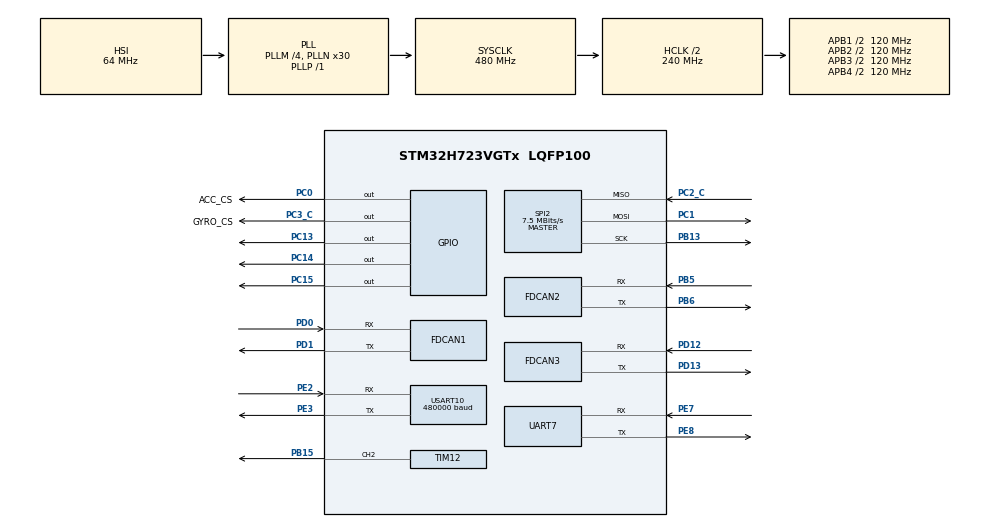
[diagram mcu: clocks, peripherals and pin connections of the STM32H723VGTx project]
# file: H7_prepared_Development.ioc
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CORTEX_M7.default_mode_Activation=1
Dma.Request0=UART7_RX
Dma.Request1=USART10_RX
Dma.UART7_RX.0.Direction=DMA_PERIPH_TO_MEMORY
Dma.UART7_RX.0.EventEnable=DISABLE
Dma.UART7_RX.0.FIFOMode=DMA_FIFOMODE_DISABLE
Dma.UART7_RX.0.Instance=DMA1_Stream0
Dma.UART7_RX.0.MemDataAlignment=DMA_MDATAALIGN_BYTE
Dma.UART7_RX.0.MemInc=DMA_MINC_ENABLE
Dma.UART7_RX.0.Mode=DMA_NORMAL
Dma.UART7_RX.0.PeriphDataAlignment=DMA_PDATAALIGN_BYTE
Dma.UART7_RX.0.PeriphInc=DMA_PINC_DISABLE
Dma.UART7_RX.0.Polarity=HAL_DMAMUX_REQ_GEN_RISING
Dma.UART7_RX.0.Priority=DMA_PRIORITY_LOW
Dma.UART7_RX.0.RequestNumber=1
Dma.UART7_RX.0.SignalID=NONE
Dma.UART7_RX.0.SyncEnable=DISABLE
Dma.UART7_RX.0.SyncPolarity=HAL_DMAMUX_SYNC_NO_EVENT
Dma.UART7_RX.0.SyncRequestNumber=1
Dma.UART7_RX.0.SyncSignalID=NONE
Dma.USART10_RX.1.Direction=DMA_PERIPH_TO_MEMORY
Dma.USART10_RX.1.EventEnable=DISABLE
Dma.USART10_RX.1.FIFOMode=DMA_FIFOMODE_DISABLE
Dma.USART10_RX.1.Instance=DMA1_Stream1
Dma.USART10_RX.1.MemDataAlignment=DMA_MDATAALIGN_BYTE
Dma.USART10_RX.1.MemInc=DMA_MINC_ENABLE
Dma.USART10_RX.1.Mode=DMA_NORMAL
Dma.USART10_RX.1.PeriphDataAlignment=DMA_PDATAALIGN_BYTE
Dma.USART10_RX.1.PeriphInc=DMA_PINC_DISABLE
Dma.USART10_RX.1.Polarity=HAL_DMAMUX_REQ_GEN_RISING
Dma.USART10_RX.1.Priority=DMA_PRIORITY_LOW
Dma.USART10_RX.1.RequestNumber=1
Dma.USART10_RX.1.SignalID=NONE
Dma.USART10_RX.1.SyncEnable=DISABLE
Dma.USART10_RX.1.SyncPolarity=HAL_DMAMUX_SYNC_NO_EVENT
Dma.USART10_RX.1.SyncRequestNumber=1
Dma.USART10_RX.1.SyncSignalID=NONE
FDCAN1.CalculateBaudRateNominal=1000000
FDCAN1.CalculateTimeBitNominal=1000
FDCAN1.CalculateTimeQuantumNominal=25.0
FDCAN1.DataSyncJumpWidth=2
FDCAN1.DataTimeSeg1=13
FDCAN1.DataTimeSeg2=2
FDCAN1.ExtFiltersNbr=4
FDCAN1.FrameFormat=FDCAN_FRAME_CLASSIC
FDCAN1.NominalPrescaler=3
FDCAN1.NominalSyncJumpWidth=20
FDCAN1.NominalTimeSeg1=29
FDCAN1.NominalTimeSeg2=10
FDCAN1.RxBufferSize=FDCAN_DATA_BYTES_8
FDCAN1.RxBuffersNbr=2
FDCAN1.RxFifo0ElmtSize=FDCAN_DATA_BYTES_8
FDCAN1.RxFifo0ElmtsNbr=10
FDCAN1.RxFifo1ElmtSize=FDCAN_DATA_BYTES_8
FDCAN1.RxFifo1ElmtsNbr=10
FDCAN1.StdFiltersNbr=4
FDCAN1.TxBuffersNbr=10
FDCAN1.TxElmtSize=FDCAN_DATA_BYTES_8
FDCAN1.TxEventsNbr=10
FDCAN1.TxFifoQueueElmtsNbr=10
FDCAN2.CalculateBaudRateNominal=1000000
FDCAN2.CalculateTimeBitNominal=1000
FDCAN2.CalculateTimeQuantumNominal=25.0
FDCAN2.DataSyncJumpWidth=2
FDCAN2.DataTimeSeg1=13
FDCAN2.DataTimeSeg2=2
FDCAN2.ExtFiltersNbr=4
FDCAN2.FrameFormat=FDCAN_FRAME_FD_BRS
FDCAN2.MessageRAMOffset=853
FDCAN2.NominalPrescaler=3
FDCAN2.NominalSyncJumpWidth=20
FDCAN2.NominalTimeSeg1=29
FDCAN2.NominalTimeSeg2=10
FDCAN2.RxBufferSize=FDCAN_DATA_BYTES_64
FDCAN2.RxBuffersNbr=2
FDCAN2.RxFifo0ElmtSize=FDCAN_DATA_BYTES_64
FDCAN2.RxFifo0ElmtsNbr=10
FDCAN2.RxFifo1ElmtSize=FDCAN_DATA_BYTES_64
FDCAN2.RxFifo1ElmtsNbr=10
FDCAN2.StdFiltersNbr=4
FDCAN2.TxBuffersNbr=10
FDCAN2.TxElmtSize=FDCAN_DATA_BYTES_64
FDCAN2.TxEventsNbr=10
FDCAN2.TxFifoQueueElmtsNbr=10
FDCAN3.CalculateBaudRateNominal=1000000
FDCAN3.CalculateTimeBitNominal=1000
FDCAN3.CalculateTimeQuantumNominal=25.0
FDCAN3.DataSyncJumpWidth=2
FDCAN3.DataTimeSeg1=13
FDCAN3.DataTimeSeg2=2
FDCAN3.ExtFiltersNbr=4
FDCAN3.FrameFormat=FDCAN_FRAME_FD_BRS
FDCAN3.MessageRAMOffset=1706
FDCAN3.NominalPrescaler=3
FDCAN3.NominalSyncJumpWidth=20
FDCAN3.NominalTimeSeg1=29
FDCAN3.NominalTimeSeg2=10
FDCAN3.RxBufferSize=FDCAN_DATA_BYTES_64
FDCAN3.RxBuffersNbr=2
FDCAN3.RxFifo0ElmtSize=FDCAN_DATA_BYTES_64
FDCAN3.RxFifo0ElmtsNbr=10
FDCAN3.RxFifo1ElmtSize=FDCAN_DATA_BYTES_64
FDCAN3.RxFifo1ElmtsNbr=10
FDCAN3.StdFiltersNbr=4
FDCAN3.TxBuffersNbr=10
FDCAN3.TxElmtSize=FDCAN_DATA_BYTES_64
FDCAN3.TxEventsNbr=10
FDCAN3.TxFifoQueueElmtsNbr=10
Mcu.Family=STM32H7
Mcu.Name=STM32H723VGTx
Mcu.Package=LQFP100
NVIC.DMA1_Stream0_IRQn=true\:0\:0\:false\:false\:true\:false\:true\:true
NVIC.DMA1_Stream1_IRQn=true\:0\:0\:false\:false\:true\:false\:true\:true
NVIC.FDCAN1_IT0_IRQn=true\:0\:0\:false\:false\:true\:true\:true\:true
NVIC.FDCAN1_IT1_IRQn=true\:0\:0\:false\:false\:true\:true\:true\:true
NVIC.FDCAN2_IT0_IRQn=true\:0\:0\:false\:false\:true\:true\:true\:true
NVIC.FDCAN2_IT1_IRQn=true\:0\:0\:false\:false\:true\:true\:true\:true
NVIC.FDCAN3_IT0_IRQn=true\:0\:0\:false\:false\:true\:true\:true\:true
NVIC.FDCAN3_IT1_IRQn=true\:0\:0\:false\:false\:true\:true\:true\:true
NVIC.PriorityGroup=NVIC_PRIORITYGROUP_4
NVIC.TIM17_IRQn=true\:0\:0\:false\:false\:true\:true\:true\:true
NVIC.TIM8_TRG_COM_TIM14_IRQn=true\:0\:0\:false\:false\:true\:true\:true\:true
NVIC.UART7_IRQn=true\:0\:0\:false\:false\:true\:true\:true\:true
PA13(JTMS/SWDIO).Mode=Serial_Wire
PA13(JTMS/SWDIO).Signal=DEBUG_JTMS-SWDIO
PA14(JTCK/SWCLK).Mode=Serial_Wire
PA14(JTCK/SWCLK).Signal=DEBUG_JTCK-SWCLK
PB13.Mode=Full_Duplex_Master
PB13.Signal=SPI2_SCK
PB15.Signal=S_TIM12_CH2
PB5.Mode=FDCAN_Activate
PB5.Signal=FDCAN2_RX
PB6.Mode=FDCAN_Activate
PB6.Signal=FDCAN2_TX
PC0.GPIO_Label=ACC_CS
PC0.GPIO_Speed=GPIO_SPEED_FREQ_VERY_HIGH
PC0.Signal=GPIO_Output
PC1.Mode=Full_Duplex_Master
PC1.Signal=SPI2_MOSI
PC13.GPIO_PuPd=GPIO_PULLUP
PC13.Signal=GPIO_Output
PC14-OSC32_IN.GPIO_PuPd=GPIO_PULLUP
PC14-OSC32_IN.Signal=GPIO_Output
PC15-OSC32_OUT.GPIO_PuPd=GPIO_PULLUP
PC15-OSC32_OUT.Signal=GPIO_Output
PC2_C.Mode=Full_Duplex_Master
PC2_C.Signal=SPI2_MISO
PC3_C.GPIO_Label=GYRO_CS
PC3_C.GPIO_Speed=GPIO_SPEED_FREQ_VERY_HIGH
PC3_C.PinState=GPIO_PIN_SET
PC3_C.Signal=GPIO_Output
PD0.Mode=FDCAN_Activate
PD0.Signal=FDCAN1_RX
PD1.Mode=FDCAN_Activate
PD1.Signal=FDCAN1_TX
PD12.Mode=FDCAN_Activate
PD12.Signal=FDCAN3_RX
PD13.Mode=FDCAN_Activate
PD13.Signal=FDCAN3_TX
PE2.Mode=Asynchronous
PE2.Signal=USART10_RX
PE3.Mode=Asynchronous
PE3.Signal=USART10_TX
PE7.Mode=Asynchronous
PE7.Signal=UART7_RX
PE8.Mode=Asynchronous
PE8.Signal=UART7_TX
PH0-OSC_IN.Mode=HSE-External-Oscillator
PH0-OSC_IN.Signal=RCC_OSC_IN
PH1-OSC_OUT.Mode=HSE-External-Oscillator
PH1-OSC_OUT.Signal=RCC_OSC_OUT
ProjectManager.HeapSize=0x200
ProjectManager.StackSize=0x1000
ProjectManager.TargetToolchain=CMake
RCC.ADCFreq_Value=120000000
RCC.APB1Freq_Value=120000000
RCC.APB2Freq_Value=120000000
RCC.APB3Freq_Value=120000000
RCC.APB4Freq_Value=120000000
RCC.CortexFreq_Value=480000000
RCC.D1PPRE=RCC_APB3_DIV2
RCC.D2PPRE1=RCC_APB1_DIV2
RCC.D2PPRE2=RCC_APB2_DIV2
RCC.D3PPRE=RCC_APB4_DIV2
RCC.DIVM1=4
RCC.DIVM2=4
RCC.DIVN1=30
RCC.DIVN2=15
RCC.DIVP1=1
RCC.DIVQ1=4
RCC.DIVR1=4
RCC.HCLKFreq_Value=240000000
RCC.HPRE=RCC_HCLK_DIV2
RCC.HSE_VALUE=24000000
RCC.PLL2FRACN=0
RCC.PLL3FRACN=0
RCC.PLLFRACN=0
RCC.SYSCLKFreq_VALUE=480000000
RCC.SYSCLKSource=RCC_SYSCLKSOURCE_PLLCLK
RCC.USBFreq_Value=120000000
SH.S_TIM12_CH2.0=TIM12_CH2,PWM Generation2 CH2
SPI2.BaudRatePrescaler=SPI_BAUDRATEPRESCALER_16
SPI2.CLKPhase=SPI_PHASE_2EDGE
SPI2.CLKPolarity=SPI_POLARITY_HIGH
SPI2.CalculateBaudRate=7.5 MBits/s
SPI2.DataSize=SPI_DATASIZE_8BIT
SPI2.Direction=SPI_DIRECTION_2LINES
SPI2.Mode=SPI_MODE_MASTER
SPI2.VirtualType=VM_MASTER
TIM12.Channel-PWM\ Generation2\ CH2=TIM_CHANNEL_2
TIM12.Period=1999
TIM12.Prescaler=24
TIM14.Period=999
TIM14.Prescaler=239
TIM17.Period=9999
TIM17.Prescaler=239
USART10.BaudRate=480000
USART10.VirtualMode=VM_ASYNC
VP_MEMORYMAP_VS_MEMORYMAP.Mode=CurAppReg
VP_TIM12_VS_ClockSourceINT.Mode=Internal
VP_TIM14_VS_ClockSourceINT.Mode=Enable_Timer
VP_TIM17_VS_ClockSourceINT.Mode=Enable_Timer
board=custom

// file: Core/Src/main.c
/* USER CODE BEGIN Header */
/**
  ******************************************************************************
  * @file           : main.c
  * @brief          : Main program body
  ******************************************************************************
  * @attention
  *
  * Copyright (c) 2026 STMicroelectronics.
  * All rights reserved.
  *
  * This software is licensed under terms that can be found in the LICENSE file
  * in the root directory of this software component.
  * If no LICENSE file comes with this software, it is provided AS-IS.
  *
  ******************************************************************************
  */
/* USER CODE END Header */
#include "main.h"
#include "dma.h"
#include "fdcan.h"
#include "spi.h"
#include "tim.h"
#include "usart.h"
#include "gpio.h"

/* USER CODE BEGIN Includes */
#include "Serial.h"
#include "My_Tim.h"
#include "BMI088driver.h"
#include "Power_Contral.h"
#include "bsp_fdcan.h"
#include "Buzzer.h"
#include "Mo_Contral_DJI.h"
#include "HW_Config.h"
#include "PID_Calculator.h"
#include "bsp_delay.h"
/* USER CODE END Includes */

void SystemClock_Config(void);
static void MPU_Config(void);

/* USER CODE BEGIN 0 */
#include "Mo_Contral_DM.h"

/* 达妙电机 1：CAN1 / ID1 */

/* 演示用：打印达妙电机 1（CAN1 / ID1）的目标角度、实际角度、速度、力矩、错误码 */
static void DM_Demo_Print(void)
{
    DM_Mo_Data *m = &Mo_Setting[0][0];
    float tgt = m->PID_Data.IncStartDeg + m->PID_Data.PosTargetDeg;
    if (m->err != 1) DM_Enable_Motor(1, 1);   /* 未使能（ERR!=1）则重发使能帧 */
    Serial_Printf("DM tgt=%.1f act=%.1f deg vel=%.2f rad/s tor=%.2f Nm err=%u\r\n",
                  tgt,
                  m->pos_multiturn_rad * 57.29578f,
                  m->vel_rads,
                  m->tor_nm,
                  (unsigned)m->err);
}
/* USER CODE END 0 */

int main(void)
{

  /* MPU Configuration--------------------------------------------------------*/
  MPU_Config();

  /* MCU Configuration--------------------------------------------------------*/

  /* Reset of all peripherals, Initializes the Flash interface and the Systick. */
  HAL_Init();

  /* Configure the system clock */
  SystemClock_Config();

  /* Initialize all configured peripherals */
  MX_GPIO_Init();
  MX_DMA_Init();
  MX_FDCAN1_Init();
  MX_FDCAN2_Init();
  MX_FDCAN3_Init();
  MX_SPI2_Init();
  MX_UART7_Init();
  MX_USART10_UART_Init();
  MX_TIM14_Init();
  MX_TIM12_Init();
  MX_TIM17_Init();
  /* USER CODE BEGIN 2 */
  /* 总线模式与波特率统一在这里声明，不再依赖 fdcan.c 里 CubeMX 生成的参数。
   * 达妙电机出厂是经典 CAN 1Mbps；要跑 FD 就改成 CAN_FD_BRS + CAN_BR_5M（电机也要同步改）。 */
  bsp_can_switch(&hfdcan1, CAN_CLASS, CAN_BR_1M);   // CAN1：DJI + 达妙
  bsp_can_switch(&hfdcan2, CAN_CLASS, CAN_BR_1M);   // CAN2：达妙
  bsp_can_switch(&hfdcan3, CAN_CLASS, CAN_BR_1M);   // CAN3：达妙
  BMI088_init();    // 初始化 BMI088 传感器
  IMU_Init();       // IMU 初始化（零偏+温度标定 + 四元数初始化）
  My_Tim_Init();    // 启动 1ms 定时器
  Serial_Init();    // 初始化串口（打印调试用）
  Power_Contral(ALL);
  Buzzer_Init();    // 初始化蜂鸣器（默认静音）
  Mo_Init();           // 电机统一初始化：DJI + 达妙 + 通道使能（HW_Config.c）
  Buzzer_Alarm(100,2);
  /* USER CODE END 2 */

  /* Infinite loop */
  /* USER CODE BEGIN WHILE */
  while (1)
  {
    /* 串口调参：收到调参帧就更新 DJI 速度环 PID */
    if (rx_flag) {
        rx_flag = 0;
        UART_Data_Read();
    }

    /* 遥测：DJI 每 30ms 一行，达妙每 300ms 一行 */
    static uint32_t print_cnt = 0;
    if (++print_cnt % 3 == 0) {
        PID_PFINT(&C610_stat[0][4].Speed);
    }
    static uint32_t dm_print_cnt = 0;
    if (++dm_print_cnt % 30 == 0) {
        DM_Demo_Print();
    }

    /* 每秒打一次 CAN 接收诊断 */
    static uint32_t dbg_cnt = 0;
    if (++dbg_cnt % 100 == 0) {
        Serial_Printf("DBG evt=%lu ndtr=%lu cr1=%02lX isr=%08lX\r\n",
                      (unsigned long)dbg_rx_evt,
                      (unsigned long)__HAL_DMA_GET_COUNTER(huart7.hdmarx),
                      (unsigned long)UART7->CR1,
                      (unsigned long)UART7->ISR);
    }
    HAL_Delay(10);
  }
  /* USER CODE END 3 */
}

void SystemClock_Config(void)
{
  RCC_OscInitTypeDef RCC_OscInitStruct = {0};
  RCC_ClkInitTypeDef RCC_ClkInitStruct = {0};

  /** Supply configuration update enable
  */
  HAL_PWREx_ConfigSupply(PWR_LDO_SUPPLY);

  /** Configure the main internal regulator output voltage
  */
  __HAL_PWR_VOLTAGESCALING_CONFIG(PWR_REGULATOR_VOLTAGE_SCALE0);

  while(!__HAL_PWR_GET_FLAG(PWR_FLAG_VOSRDY)) {}

  /** Initializes the RCC Oscillators according to the specified parameters
  * in the RCC_OscInitTypeDef structure.
  */
  RCC_OscInitStruct.OscillatorType = RCC_OSCILLATORTYPE_HSI;
  RCC_OscInitStruct.HSIState = RCC_HSI_DIV1;
  RCC_OscInitStruct.HSICalibrationValue = 64;
  RCC_OscInitStruct.PLL.PLLState = RCC_PLL_ON;
  RCC_OscInitStruct.PLL.PLLSource = RCC_PLLSOURCE_HSI;
  RCC_OscInitStruct.PLL.PLLM = 4;
  RCC_OscInitStruct.PLL.PLLN = 30;
  RCC_OscInitStruct.PLL.PLLP = 1;
  RCC_OscInitStruct.PLL.PLLQ = 4;
  RCC_OscInitStruct.PLL.PLLR = 4;
  RCC_OscInitStruct.PLL.PLLRGE = RCC_PLL1VCIRANGE_3;
  RCC_OscInitStruct.PLL.PLLVCOSEL = RCC_PLL1VCOWIDE;
  RCC_OscInitStruct.PLL.PLLFRACN = 0;
  if (HAL_RCC_OscConfig(&RCC_OscInitStruct) != HAL_OK)
  {
    Error_Handler();
  }

  /** Initializes the CPU, AHB and APB buses clocks
  */
  RCC_ClkInitStruct.ClockType = RCC_CLOCKTYPE_HCLK|RCC_CLOCKTYPE_SYSCLK
                              |RCC_CLOCKTYPE_PCLK1|RCC_CLOCKTYPE_PCLK2
                              |RCC_CLOCKTYPE_D3PCLK1|RCC_CLOCKTYPE_D1PCLK1;
  RCC_ClkInitStruct.SYSCLKSource = RCC_SYSCLKSOURCE_PLLCLK;
  RCC_ClkInitStruct.SYSCLKDivider = RCC_SYSCLK_DIV1;
  RCC_ClkInitStruct.AHBCLKDivider = RCC_HCLK_DIV2;
  RCC_ClkInitStruct.APB3CLKDivider = RCC_APB3_DIV2;
  RCC_ClkInitStruct.APB1CLKDivider = RCC_APB1_DIV2;
  RCC_ClkInitStruct.APB2CLKDivider = RCC_APB2_DIV2;
  RCC_ClkInitStruct.APB4CLKDivider = RCC_APB4_DIV2;

  if (HAL_RCC_ClockConfig(&RCC_ClkInitStruct, FLASH_LATENCY_3) != HAL_OK)
  {
    Error_Handler();
  }
}

 /* MPU Configuration */

void MPU_Config(void)
{
  MPU_Region_InitTypeDef MPU_InitStruct = {0};

  /* Disables the MPU */
  HAL_MPU_Disable();

  /** Initializes and configures the Region and the memory to be protected
  */
  MPU_InitStruct.Enable = MPU_REGION_ENABLE;
  MPU_InitStruct.Number = MPU_REGION_NUMBER0;
  MPU_InitStruct.BaseAddress = 0x0;
  MPU_InitStruct.Size = MPU_REGION_SIZE_4GB;
  MPU_InitStruct.SubRegionDisable = 0x87;
  MPU_InitStruct.TypeExtField = MPU_TEX_LEVEL0;
  MPU_InitStruct.AccessPermission = MPU_REGION_NO_ACCESS;
  MPU_InitStruct.DisableExec = MPU_INSTRUCTION_ACCESS_DISABLE;
  MPU_InitStruct.IsShareable = MPU_ACCESS_SHAREABLE;
  MPU_InitStruct.IsCacheable = MPU_ACCESS_NOT_CACHEABLE;
  MPU_InitStruct.IsBufferable = MPU_ACCESS_NOT_BUFFERABLE;

  HAL_MPU_ConfigRegion(&MPU_InitStruct);
  /* Enables the MPU */
  HAL_MPU_Enable(MPU_PRIVILEGED_DEFAULT);

}

void Error_Handler(void)
{
  __disable_irq();
  while (1)
  {
  }
}
